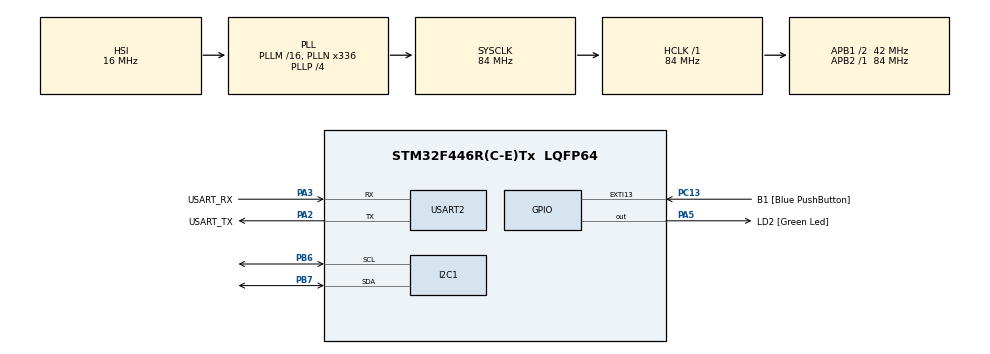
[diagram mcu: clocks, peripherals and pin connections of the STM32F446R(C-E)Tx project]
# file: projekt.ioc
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Dma.I2C1_RX.0.Direction=DMA_PERIPH_TO_MEMORY
Dma.I2C1_RX.0.FIFOMode=DMA_FIFOMODE_DISABLE
Dma.I2C1_RX.0.Instance=DMA1_Stream0
Dma.I2C1_RX.0.MemDataAlignment=DMA_MDATAALIGN_BYTE
Dma.I2C1_RX.0.MemInc=DMA_MINC_ENABLE
Dma.I2C1_RX.0.Mode=DMA_NORMAL
Dma.I2C1_RX.0.PeriphDataAlignment=DMA_PDATAALIGN_BYTE
Dma.I2C1_RX.0.PeriphInc=DMA_PINC_DISABLE
Dma.I2C1_RX.0.Priority=DMA_PRIORITY_MEDIUM
Dma.I2C1_TX.1.Direction=DMA_MEMORY_TO_PERIPH
Dma.I2C1_TX.1.FIFOMode=DMA_FIFOMODE_DISABLE
Dma.I2C1_TX.1.Instance=DMA1_Stream6
Dma.I2C1_TX.1.MemDataAlignment=DMA_MDATAALIGN_BYTE
Dma.I2C1_TX.1.MemInc=DMA_MINC_ENABLE
Dma.I2C1_TX.1.Mode=DMA_NORMAL
Dma.I2C1_TX.1.PeriphDataAlignment=DMA_PDATAALIGN_BYTE
Dma.I2C1_TX.1.PeriphInc=DMA_PINC_DISABLE
Dma.I2C1_TX.1.Priority=DMA_PRIORITY_MEDIUM
Dma.Request0=I2C1_RX
Dma.Request1=I2C1_TX
Mcu.Family=STM32F4
Mcu.Name=STM32F446R(C-E)Tx
Mcu.Package=LQFP64
NVIC.DMA1_Stream0_IRQn=true\:0\:0\:false\:false\:true\:false\:true\:true
NVIC.DMA1_Stream6_IRQn=true\:0\:0\:false\:false\:true\:false\:true\:true
NVIC.I2C1_ER_IRQn=true\:0\:0\:false\:false\:true\:true\:true\:true
NVIC.I2C1_EV_IRQn=true\:0\:0\:false\:false\:true\:true\:true\:true
NVIC.PriorityGroup=NVIC_PRIORITYGROUP_0
NVIC.TIM6_DAC_IRQn=true\:0\:0\:false\:false\:true\:true\:true\:true
NVIC.USART2_IRQn=true\:0\:0\:false\:false\:true\:true\:true\:true
PA13.GPIO_Label=TMS
PA13.Mode=Serial_Wire
PA13.Signal=SYS_JTMS-SWDIO
PA14.GPIO_Label=TCK
PA14.Mode=Serial_Wire
PA14.Signal=SYS_JTCK-SWCLK
PA2.GPIO_Label=USART_TX
PA2.Mode=Asynchronous
PA2.Signal=USART2_TX
PA3.GPIO_Label=USART_RX
PA3.Mode=Asynchronous
PA3.Signal=USART2_RX
PA5.GPIO_Label=LD2 [Green Led]
PA5.Signal=GPIO_Output
PB3.GPIO_Label=SWO
PB3.Signal=SYS_JTDO-SWO
PB6.Mode=I2C
PB6.Signal=I2C1_SCL
PB7.Mode=I2C
PB7.Signal=I2C1_SDA
PC13.GPIO_Label=B1 [Blue PushButton]
PC13.GPIO_ModeDefaultEXTI=GPIO_MODE_IT_FALLING
PC13.Signal=GPXTI13
PC14-OSC32_IN.Mode=LSE-External-Oscillator
PC14-OSC32_IN.Signal=RCC_OSC32_IN
PC15-OSC32_OUT.Mode=LSE-External-Oscillator
PC15-OSC32_OUT.Signal=RCC_OSC32_OUT
PH0-OSC_IN.Mode=HSE-External-Oscillator
PH0-OSC_IN.Signal=RCC_OSC_IN
PH1-OSC_OUT.Mode=HSE-External-Oscillator
PH1-OSC_OUT.Signal=RCC_OSC_OUT
ProjectManager.HeapSize=0x200
ProjectManager.StackSize=0x400
ProjectManager.TargetToolchain=STM32CubeIDE
RCC.48MHZClocksFreq_Value=84000000
RCC.AHBFreq_Value=84000000
RCC.APB1CLKDivider=RCC_HCLK_DIV2
RCC.APB1Freq_Value=42000000
RCC.APB1TimFreq_Value=84000000
RCC.APB2Freq_Value=84000000
RCC.APB2TimFreq_Value=84000000
RCC.CortexFreq_Value=84000000
RCC.FLatency-AdvancedSettings=FLASH_LATENCY_2
RCC.HCLKFreq_Value=84000000
RCC.HSE_VALUE=8000000
RCC.HSI_VALUE=16000000
RCC.PLLN=336
RCC.PLLP=RCC_PLLP_DIV4
RCC.SYSCLKFreq_VALUE=84000000
RCC.SYSCLKSource=RCC_SYSCLKSOURCE_PLLCLK
RCC.USBFreq_Value=168000000
RCC.VCOOutputFreq_Value=336000000
TIM6.Period=999
TIM6.Prescaler=89
USART2.VirtualMode=VM_ASYNC
VP_TIM6_VS_ClockSourceINT.Mode=Enable_Timer
board=NUCLEO-F446RE

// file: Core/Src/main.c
/* USER CODE BEGIN Header */
/**
  ******************************************************************************
  * @file           : main.c
  * @brief          : Main program body
  ******************************************************************************
  * @attention
  *
  * Copyright (c) 2026 STMicroelectronics.
  * All rights reserved.
  *
  * This software is licensed under terms that can be found in the LICENSE file
  * in the root directory of this software component.
  * If no LICENSE file comes with this software, it is provided AS-IS.
  *
  ******************************************************************************
  */
/* USER CODE END Header */
#include "main.h"
#include "dma.h"
#include "i2c.h"
#include "tim.h"
#include "usart.h"
#include "gpio.h"

/* USER CODE BEGIN Includes */
#include "protocol.h"
#include "bme280_dma.h"

/* USER CODE END Includes */

/* USER CODE BEGIN PV */
static proto_ctx_t g_proto;
static uint8_t g_rx_byte;
static uint32_t g_period_ms = 60000;
static bme280_dma_t g_bme;

/* USER CODE END PV */

void SystemClock_Config(void);

int main(void)
{

  /* MCU Configuration--------------------------------------------------------*/

  /* Reset of all peripherals, Initializes the Flash interface and the Systick. */
  HAL_Init();

  /* Configure the system clock */
  SystemClock_Config();

  /* Initialize all configured peripherals */
  MX_GPIO_Init();
  MX_DMA_Init();
  MX_USART2_UART_Init();
  MX_I2C1_Init();
  MX_TIM6_Init();
  /* USER CODE BEGIN 2 */
  proto_init(&g_proto, &huart2, ADDR_STM32);
  HAL_UART_Receive_IT(&huart2, &g_rx_byte, 1);
  bme_init(&g_bme, &hi2c1, 0x77); // jeśli nie działa, zmienisz na 0x77
  bme_read_id_dma(&g_bme);

  /* USER CODE END 2 */

  /* Infinite loop */
  while (1)
  {

    /* USER CODE BEGIN 3 */
	  char msg[64];

	  HAL_UART_Transmit(&huart2, (uint8_t*)"SCAN_START\r\n", 12, HAL_MAX_DELAY);

	  for (uint8_t addr = 1; addr < 127; addr++)
	  {
	      if (HAL_I2C_IsDeviceReady(&hi2c1, addr << 1, 1, 10) == HAL_OK)
	      {
	          int n = snprintf(msg, sizeof(msg), "I2C device at 0x%02X\r\n", addr);
	          HAL_UART_Transmit(&huart2, (uint8_t*)msg, n, HAL_MAX_DELAY);
	      }
	  }

	  HAL_UART_Transmit(&huart2, (uint8_t*)"SCAN_END\r\n\r\n", 11, HAL_MAX_DELAY);
	  HAL_Delay(2000);

  }
  /* USER CODE END 3 */
}

void SystemClock_Config(void)
{
  RCC_OscInitTypeDef RCC_OscInitStruct = {0};
  RCC_ClkInitTypeDef RCC_ClkInitStruct = {0};

  /** Configure the main internal regulator output voltage
  */
  __HAL_RCC_PWR_CLK_ENABLE();
  __HAL_PWR_VOLTAGESCALING_CONFIG(PWR_REGULATOR_VOLTAGE_SCALE3);

  /** Initializes the RCC Oscillators according to the specified parameters
  * in the RCC_OscInitTypeDef structure.
  */
  RCC_OscInitStruct.OscillatorType = RCC_OSCILLATORTYPE_HSI;
  RCC_OscInitStruct.HSIState = RCC_HSI_ON;
  RCC_OscInitStruct.HSICalibrationValue = RCC_HSICALIBRATION_DEFAULT;
  RCC_OscInitStruct.PLL.PLLState = RCC_PLL_ON;
  RCC_OscInitStruct.PLL.PLLSource = RCC_PLLSOURCE_HSI;
  RCC_OscInitStruct.PLL.PLLM = 16;
  RCC_OscInitStruct.PLL.PLLN = 336;
  RCC_OscInitStruct.PLL.PLLP = RCC_PLLP_DIV4;
  RCC_OscInitStruct.PLL.PLLQ = 2;
  RCC_OscInitStruct.PLL.PLLR = 2;
  if (HAL_RCC_OscConfig(&RCC_OscInitStruct) != HAL_OK)
  {
    Error_Handler();
  }

  /** Initializes the CPU, AHB and APB buses clocks
  */
  RCC_ClkInitStruct.ClockType = RCC_CLOCKTYPE_HCLK|RCC_CLOCKTYPE_SYSCLK
                              |RCC_CLOCKTYPE_PCLK1|RCC_CLOCKTYPE_PCLK2;
  RCC_ClkInitStruct.SYSCLKSource = RCC_SYSCLKSOURCE_PLLCLK;
  RCC_ClkInitStruct.AHBCLKDivider = RCC_SYSCLK_DIV1;
  RCC_ClkInitStruct.APB1CLKDivider = RCC_HCLK_DIV2;
  RCC_ClkInitStruct.APB2CLKDivider = RCC_HCLK_DIV1;

  if (HAL_RCC_ClockConfig(&RCC_ClkInitStruct, FLASH_LATENCY_2) != HAL_OK)
  {
    Error_Handler();
  }
}

/* USER CODE BEGIN 4 */
void HAL_I2C_MemRxCpltCallback(I2C_HandleTypeDef *hi2c)
{
    if (hi2c->Instance == I2C1) {
        g_bme.done = 1;
    }
}

void HAL_I2C_ErrorCallback(I2C_HandleTypeDef *hi2c)
{
    if (hi2c->Instance == I2C1) {
        g_bme.err = 1;
    }
}

int16_t app_read_bme280_temp_centi(void)
{
    // Tymczasowo stała wartość do testów
    return 2534; // 25.34°C
}

void app_set_period_ms(uint32_t period_ms)
{
    g_period_ms = period_ms;
}

uint32_t app_get_period_ms(void)
{
    return g_period_ms;
}

static int16_t hist[400];
static uint16_t hist_head = 0;
static uint16_t hist_count = 0;

static void hist_push(int16_t t)
{
    hist[hist_head] = t;
    hist_head = (hist_head + 1) % 400;
    if (hist_count < 400) hist_count++;
}

uint8_t app_get_history(uint8_t maxN, int16_t *out)
{
    if (hist_count == 0) return 0;

    uint8_t N = (maxN > hist_count) ? (uint8_t)hist_count : maxN;

    for (uint8_t i = 0; i < N; i++)
    {
        int32_t idx = (int32_t)hist_head - 1 - i;
        while (idx < 0) idx += 400;
        out[i] = hist[(uint16_t)idx];
    }
    return N;
}

void HAL_UART_RxCpltCallback(UART_HandleTypeDef *huart)
{
    if (huart->Instance == USART2)
    {
        proto_rx_byte(&g_proto, g_rx_byte);
        HAL_UART_Receive_IT(&huart2, &g_rx_byte, 1);
    }
}
/* USER CODE END 4 */

void Error_Handler(void)
{
  __disable_irq();
  while (1)
  {
  }
}
